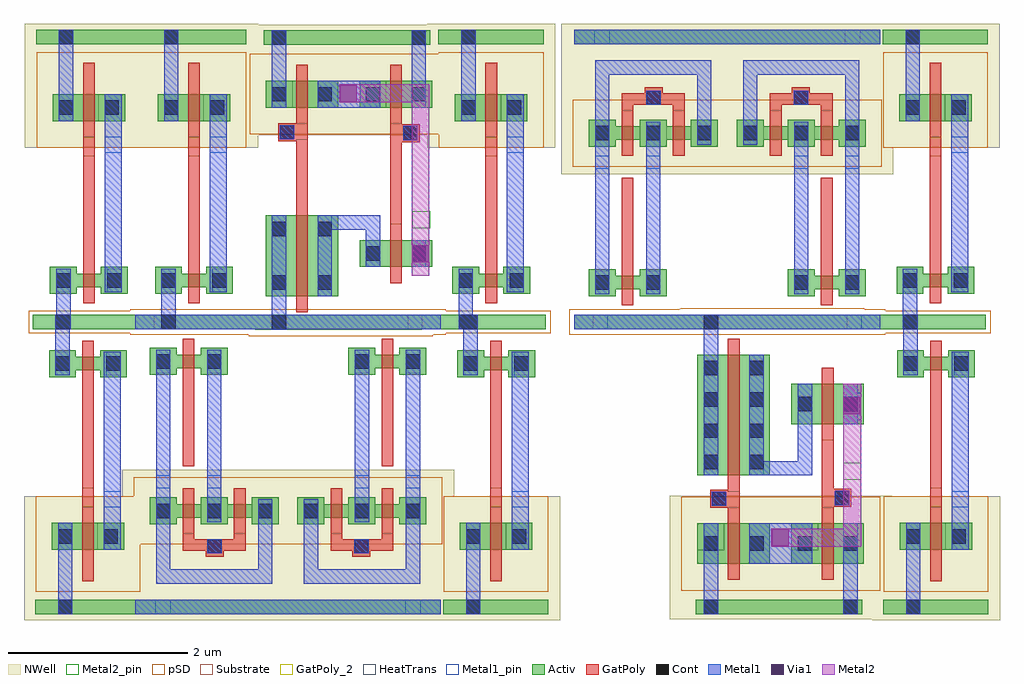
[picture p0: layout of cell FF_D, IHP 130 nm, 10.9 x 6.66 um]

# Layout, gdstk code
from math import pi, radians
import gdstk
lib = gdstk.Library(unit=1e-6, precision=5e-09)
def R(c, l, rs):  # rectangles x0, y0, x1, y1
    for r in rs: c.add(gdstk.rectangle(r[:2], r[2:], *l))
def A(c, l, x, y, w, h, nx, ny, dx, dy):  # array of equal rectangles
    R(c, l, [(x+i*dx, y+j*dy, x+i*dx+w, y+j*dy+h) for i in range(nx) for j in range(ny)])
def P(c, l, *ps):  # polygons
    for p in ps: c.add(gdstk.Polygon(p, *l))
Activ = (1, 0)
GatPoly = (5, 0)
GatPoly_2 = (5, 2)
Cont = (6, 0)
Metal1 = (8, 0)
Metal1_pin = (8, 2)
Metal2 = (10, 0)
Metal2_pin = (10, 2)
pSD = (14, 0)
Via1 = (19, 0)
NWell = (31, 0)
Substrate = (40, 0)
HeatTrans = (51, 0)

nmos = lib.new_cell('nmos')
R(nmos, Activ, [(0,0,0.3,0.3), (0.57,0,0.87,0.3), (0,0.075,0.87,0.225)])
R(nmos, GatPoly, [(0.37,-0.105,0.5,1.545)])
R(nmos, GatPoly_2, [(0.37,-0.105,0.5,1.545)])
R(nmos, Cont, [(0.07,0.07,0.23,0.23), (0.64,0.07,0.8,0.23)])
R(nmos, Metal1, [(0.07,0.02,0.23,0.28), (0.64,0.02,0.8,0.28)])
R(nmos, Metal1_pin, [(0.07,0.02,0.23,0.28), (0.64,0.02,0.8,0.28)])
R(nmos, HeatTrans, [(0.37,-0.105,0.5,1.545)])
nmos.add(gdstk.Label('nmos', (0.435,0.15), layer=63, texttype=0))
nmos.add(gdstk.Label('nmos', (0.435,0.15), layer=51, texttype=0))

pmos_1 = lib.new_cell('pmos$1')
R(pmos_1, Activ, [(0,1.14,0.3,1.44), (0,1.14,0.81,1.44), (0.51,1.14,0.81,1.44)])
R(pmos_1, GatPoly, [(0.34,0.96,0.47,1.79), (0.34,0.96,0.47,1.79)])
R(pmos_1, Cont, [(0.07,1.21,0.23,1.37), (0.58,1.21,0.74,1.37)])
R(pmos_1, Metal1, [(0.07,1.14,0.23,1.44), (0.07,1.14,0.23,1.44), (0.58,1.14,0.74,1.44)])
P(pmos_1, Metal1, [(0.58,1.14),(0.58,1.44),(0.675,1.44),(0.74,1.44),(0.74,1.14)])
R(pmos_1, pSD, [(-0.18,0.84,0.99,1.91)])
R(pmos_1, NWell, [(-0.31,0.84,1.12,1.92)])
R(pmos_1, Substrate, [(0.51,1.14,0.81,1.44)])
R(pmos_1, HeatTrans, [(0.34,0.96,0.47,1.79)])
pmos_1.add(gdstk.Label('pmos', (0.405,1.29), layer=63, texttype=0))
pmos_1.add(gdstk.Label('pmos', (0.405,1.29), layer=51, texttype=0))

inv_d1 = lib.new_cell('INV_D1')
R(inv_d1, Activ, [(-0.63,-1,0.545,-0.84), (-0.6,2.185,0.575,2.345)])
R(inv_d1, GatPoly, [(-0.075,0.94,0.055,1.145)])
R(inv_d1, GatPoly_2, [(-0.075,1.03,0.055,1.145)])
R(inv_d1, Cont, [(-0.375,-1,-0.215,-0.84), (-0.345,2.185,-0.185,2.345)])
R(inv_d1, Metal1, [(-0.375,-1,-0.215,-0.585), (0.165,-0.585,0.355,1.625), (-0.345,1.625,-0.185,2.345)])
R(inv_d1, Metal1_pin, [(-0.375,-1,-0.215,-0.84), (0.165,0.97,0.355,1.15), (-0.345,2.185,-0.185,2.345)])
R(inv_d1, pSD, [(-0.67,-1.045,0.6,-0.795)])
R(inv_d1, NWell, [(-0.725,2.105,0.705,2.41)])
inv_d1.add(gdstk.Reference(nmos, (-0.445,-0.605)))
inv_d1.add(gdstk.Reference(pmos_1, (-0.415,0.185)))
inv_d1.add(gdstk.Label('VDD', (-0.215,2.32), layer=8, texttype=2))
inv_d1.add(gdstk.Label('VOUT', (0.315,1.115), layer=8, texttype=2))
inv_d1.add(gdstk.Label('VSS', (-0.26,-0.865), layer=8, texttype=2))
inv_d1.add(gdstk.Label('VIN', (0.02,1.13), layer=5, texttype=2))

nmos_3 = lib.new_cell('nmos$3')
R(nmos_3, Activ, [(0,0,0.3,0.3), (0.57,0,0.87,0.3), (0,0.075,0.87,0.225)])
R(nmos_3, GatPoly, [(0.37,-0.105,0.5,1.32)])
R(nmos_3, GatPoly_2, [(0.37,-0.105,0.5,1.32)])
R(nmos_3, Cont, [(0.07,0.07,0.23,0.23), (0.64,0.07,0.8,0.23)])
R(nmos_3, Metal1, [(0.07,0.02,0.23,0.28), (0.64,0.02,0.8,0.28)])
R(nmos_3, Metal1_pin, [(0.07,0.02,0.23,0.28), (0.64,0.02,0.8,0.28)])
R(nmos_3, HeatTrans, [(0.37,-0.105,0.5,1.32)])
nmos_3.add(gdstk.Label('nmos', (0.435,0.15), layer=63, texttype=0))
nmos_3.add(gdstk.Label('nmos', (0.435,0.15), layer=51, texttype=0))

pmos_3 = lib.new_cell('pmos$3')
R(pmos_3, Activ, [(0,0.915,0.3,1.215), (0.57,0.915,0.87,1.215), (0,0.99,0.87,1.14)])
R(pmos_3, GatPoly, [(0.37,0.81,0.5,1.32), (0.37,0.81,0.5,1.32)])
R(pmos_3, Cont, [(0.07,0.985,0.23,1.145), (0.64,0.985,0.8,1.145)])
R(pmos_3, Metal1, [(0.07,0.935,0.23,1.195), (0.07,0.935,0.23,1.195), (0.64,0.935,0.8,1.195), (0.64,0.935,0.8,1.195)])
R(pmos_3, pSD, [(-0.18,0.69,1.05,1.44)])
R(pmos_3, NWell, [(-0.31,0.605,1.18,2.285)])
R(pmos_3, Substrate, [(0.57,0.915,0.87,1.215)])
R(pmos_3, HeatTrans, [(0.37,0.81,0.5,1.32)])
pmos_3.add(gdstk.Label('pmos', (0.435,1.065), layer=63, texttype=0))
pmos_3.add(gdstk.Label('pmos', (0.435,1.065), layer=51, texttype=0))

tg_2c = lib.new_cell('TG_2C')
R(tg_2c, Activ, [(0.15,0.06,1.91,0.22), (0.15,3.245,1.91,3.405)])
R(tg_2c, GatPoly, [(0.935,2.565,1.135,2.765)])
R(tg_2c, GatPoly_2, [(0.68,0.72,0.81,1.75)])
R(tg_2c, Cont, [(0.955,2.565,1.115,2.725)])
R(tg_2c, Metal1, [(0.15,0.06,1.91,0.22), (0.955,2.565,1.115,2.725), (0.15,3.245,1.91,3.405)])
R(tg_2c, Metal1_pin, [(0.355,0.06,0.52,0.22), (0.38,1.85,0.54,2), (0.95,1.85,1.11,2), (0.955,2.565,1.115,2.725), (0.37,3.245,0.545,3.405)])
R(tg_2c, pSD, [(0.09,0,1.985,0.28)])
R(tg_2c, NWell, [(0,1.795,2.06,2.54)])
tg_2c.add(gdstk.FlexPath([(0.745,2.505),(0.745,2.63),(1.315,2.63),(1.315,2.505)], 0.13, ends="flush", simple_path=True, layer=5, datatype=0))  # GatPoly
tg_2c.add(gdstk.FlexPath([(0.46,2.12),(0.46,0.71)], 0.16, ends="flush", simple_path=True, layer=8, datatype=0))  # Metal1
tg_2c.add(gdstk.FlexPath([(1.03,2.12),(1.03,0.71)], 0.16, ends="flush", simple_path=True, layer=8, datatype=0))  # Metal1
tg_2c.add(gdstk.FlexPath([(0.46,2.38),(0.46,2.985),(1.6,2.985),(1.6,2.38)], 0.16, ends="flush", simple_path=True, layer=8, datatype=0))  # Metal1
tg_2c.add(gdstk.Reference(nmos_3, (0.31,0.43)))
tg_2c.add(gdstk.Reference(pmos_3, (0.31,1.185)))
tg_2c.add(gdstk.Reference(pmos_3, (0.88,1.185)))
tg_2c.add(gdstk.Label('VSS', (0.455,0.17), layer=8, texttype=2))
tg_2c.add(gdstk.Label('VCTRLP', (1.095,2.715), layer=8, texttype=2))
tg_2c.add(gdstk.Label('VIN', (0.49,1.96), layer=8, texttype=2))
tg_2c.add(gdstk.Label('VOUT', (1.085,1.935), layer=8, texttype=2))
tg_2c.add(gdstk.Label('VDD', (0.48,3.365), layer=8, texttype=2))
tg_2c.add(gdstk.Label('VCTRLN', (0.75,1.7), layer=5, texttype=2))

pmos_2_1 = lib.new_cell('pmos$2$1')
R(pmos_2_1, Activ, [(0,0.67,0.81,0.97), (0,0.67,0.3,0.97), (0.51,0.67,0.81,0.97)])
R(pmos_2_1, GatPoly, [(0.34,0.49,0.47,1.15), (0.34,0.49,0.47,1.15)])
R(pmos_2_1, Cont, [(0.07,0.74,0.23,0.9), (0.58,0.74,0.74,0.9)])
R(pmos_2_1, Metal1, [(0.07,0.67,0.23,0.97), (0.07,0.67,0.23,0.97), (0.58,0.67,0.74,0.97), (0.58,0.67,0.74,0.97)])
R(pmos_2_1, pSD, [(-0.18,0.37,0.99,1.27)])
R(pmos_2_1, NWell, [(-0.31,0.36,1.12,1.28)])
R(pmos_2_1, Substrate, [(0.51,0.67,0.81,0.97)])
R(pmos_2_1, HeatTrans, [(0.34,0.49,0.47,1.15)])
pmos_2_1.add(gdstk.Label('pmos', (0.405,0.82), layer=63, texttype=0))
pmos_2_1.add(gdstk.Label('pmos', (0.405,0.82), layer=51, texttype=0))

nmos_1_2 = lib.new_cell('nmos$1$2')
R(nmos_1_2, Activ, [(0,0,0.3,0.3), (0,0,0.81,0.9), (0.51,0,0.81,0.3)])
R(nmos_1_2, GatPoly, [(0.34,-0.18,0.47,1.75)])
R(nmos_1_2, GatPoly_2, [(0.34,-0.18,0.47,1.75)])
R(nmos_1_2, Cont, [(0.07,0.07,0.23,0.23), (0.58,0.07,0.74,0.23), (0.07,0.67,0.23,0.83), (0.58,0.67,0.74,0.83)])
R(nmos_1_2, Metal1, [(0.07,0,0.23,0.9), (0.58,0,0.74,0.9)])
R(nmos_1_2, Metal1_pin, [(0.07,0,0.23,0.9), (0.58,0,0.74,0.9)])
R(nmos_1_2, HeatTrans, [(0.34,-0.18,0.47,1.75)])
nmos_1_2.add(gdstk.Label('nmos', (0.405,0.45), layer=63, texttype=0))
nmos_1_2.add(gdstk.Label('nmos', (0.405,0.45), layer=51, texttype=0))

nmos_2_1 = lib.new_cell('nmos$2$1')
R(nmos_2_1, Activ, [(0,0,0.3,0.3), (0,0,0.81,0.3), (0.51,0,0.81,0.3)])
R(nmos_2_1, GatPoly, [(0.34,-0.18,0.47,0.48)])
R(nmos_2_1, GatPoly_2, [(0.34,-0.18,0.47,0.48)])
R(nmos_2_1, Cont, [(0.07,0.07,0.23,0.23), (0.58,0.07,0.74,0.23)])
R(nmos_2_1, Metal1, [(0.07,0,0.23,0.3), (0.58,0,0.74,0.3)])
R(nmos_2_1, Metal1_pin, [(0.07,0,0.23,0.3), (0.58,0,0.74,0.3)])
R(nmos_2_1, HeatTrans, [(0.34,-0.18,0.47,0.48)])
nmos_2_1.add(gdstk.Label('nmos', (0.405,0.15), layer=63, texttype=0))
nmos_2_1.add(gdstk.Label('nmos', (0.405,0.15), layer=51, texttype=0))

nand_d2 = lib.new_cell('NAND_D2')
R(nand_d2, Activ, [(-0.055,-0.56,1.805,-0.4), (0.04,2.625,1.9,2.785)])
R(nand_d2, GatPoly, [(1.45,0.44,1.58,1.74), (0.4,0.78,0.53,1.74), (1.58,1.535,1.78,1.735), (0.2,1.545,0.4,1.745)])
R(nand_d2, Cont, [(0.13,-0.56,0.29,-0.4), (1.595,1.555,1.755,1.715), (0.22,1.565,0.38,1.725), (0.13,2.625,0.29,2.785), (1.69,2.625,1.85,2.785)])
R(nand_d2, Metal1, [(0.13,-0.56,0.29,-0.185), (1.69,0.14,1.89,0.44), (1.595,1.555,1.755,1.715), (0.22,1.565,0.38,1.725), (0.64,1.92,1.34,2.22), (0.13,2.22,0.29,2.785), (1.69,2.22,1.85,2.785)])
R(nand_d2, Metal1_pin, [(0.13,-0.56,0.29,-0.4), (1.595,1.555,1.755,1.715), (0.22,1.565,0.38,1.725), (0.13,2.625,0.29,2.785), (1.69,2.625,1.85,2.785)])
R(nand_d2, Metal2_pin, [(1.7,0.57,1.9,0.76)])
R(nand_d2, pSD, [(-0.13,-0.635,1.925,-0.335)])
R(nand_d2, Via1, [(1.69,0.19,1.88,0.38), (0.89,1.985,1.08,2.175)])
R(nand_d2, NWell, [(-0.25,2.53,2.23,2.845)])
nand_d2.add(gdstk.FlexPath([(1.26,0.43),(1.26,0.635),(0.72,0.635),(0.72,0.44)], 0.16, ends="flush", simple_path=True, layer=8, datatype=0))  # Metal1
nand_d2.add(gdstk.FlexPath([(0.885,2.08),(1.79,2.08),(1.79,0.04)], 0.2, ends="flush", simple_path=True, layer=10, datatype=0))  # Metal2
nand_d2.add(gdstk.Reference(pmos_2_1, (1.92,1.25), rotation=pi, x_reflection=True))
nand_d2.add(gdstk.Reference(pmos_2_1, (0.87,1.25), rotation=pi, x_reflection=True))
nand_d2.add(gdstk.Reference(nmos_1_2, (0.87,-0.185), rotation=pi, x_reflection=True))
nand_d2.add(gdstk.Reference(nmos_2_1, (1.92,0.14), rotation=pi, x_reflection=True))
nand_d2.add(gdstk.Label('VDD', (0.155,2.745), layer=8, texttype=2))
nand_d2.add(gdstk.Label('VDD', (1.715,2.745), layer=8, texttype=2))
nand_d2.add(gdstk.Label('VA', (1.63,1.695), layer=8, texttype=2))
nand_d2.add(gdstk.Label('VB', (0.255,1.695), layer=8, texttype=2))
nand_d2.add(gdstk.Label('VSS', (0.2,-0.435), layer=8, texttype=2))
nand_d2.add(gdstk.Label('VOUT', (1.835,0.705), layer=10, texttype=2))

half_a = lib.new_cell('HALF_A')
half_a.add(gdstk.Reference(inv_d1, (3.495,1.44), x_reflection=True))
half_a.add(gdstk.Reference(tg_2c, (3.865,2.5), x_reflection=True))
half_a.add(gdstk.Reference(nand_d2, (5.41,2.835)))
half_a.add(gdstk.Reference(tg_2c, (7.575,2.5), rotation=pi))
half_a.add(gdstk.Reference(inv_d1, (8.055,1.44), x_reflection=True))

pmos_2 = lib.new_cell('pmos$2')
R(pmos_2, Activ, [(0,0,0.3,0.3), (0,0,0.81,0.45), (0.51,0,0.81,0.3)])
R(pmos_2, GatPoly, [(0.34,-0.18,0.47,0.63), (0.34,-0.18,0.47,0.63)])
R(pmos_2, Cont, [(0.07,0.145,0.23,0.305), (0.58,0.145,0.74,0.305)])
R(pmos_2, Metal1, [(0.07,0,0.23,0.45), (0.07,0,0.23,0.45), (0.58,0,0.74,0.45), (0.58,0,0.74,0.45)])
R(pmos_2, pSD, [(-0.18,-0.3,0.99,0.75)])
R(pmos_2, NWell, [(-0.31,-0.31,1.12,0.76)])
R(pmos_2, Substrate, [(0.51,0,0.81,0.3)])
R(pmos_2, HeatTrans, [(0.34,-0.18,0.47,0.63)])
pmos_2.add(gdstk.Label('pmos', (0.405,0.225), layer=63, texttype=0))
pmos_2.add(gdstk.Label('pmos', (0.405,0.225), layer=51, texttype=0))

nmos_1_1 = lib.new_cell('nmos$1$1')
R(nmos_1_1, Activ, [(0,0,0.3,0.3), (0,0,0.81,1.35), (0.51,0,0.81,0.3)])
R(nmos_1_1, GatPoly, [(0.34,-0.18,0.47,1.53)])
R(nmos_1_1, GatPoly_2, [(0.34,-0.18,0.47,1.53)])
A(nmos_1_1, Cont, 0.07, 0.07, 0.16, 0.16, 1, 4, 0, 0.35)
A(nmos_1_1, Cont, 0.58, 0.07, 0.16, 0.16, 1, 4, 0, 0.35)
R(nmos_1_1, Metal1, [(0.07,0,0.23,1.35), (0.58,0,0.74,1.35)])
R(nmos_1_1, Metal1_pin, [(0.07,0,0.23,1.35), (0.58,0,0.74,1.35)])
R(nmos_1_1, HeatTrans, [(0.34,-0.18,0.47,1.53)])
nmos_1_1.add(gdstk.Label('nmos', (0.405,0.675), layer=63, texttype=0))
nmos_1_1.add(gdstk.Label('nmos', (0.405,0.675), layer=51, texttype=0))

nmos_2 = lib.new_cell('nmos$2')
R(nmos_2, Activ, [(0,0,0.3,0.3), (0,0,0.81,0.45), (0.51,0,0.81,0.3)])
R(nmos_2, GatPoly, [(0.34,-0.18,0.47,0.63)])
R(nmos_2, GatPoly_2, [(0.34,-0.18,0.47,0.63)])
R(nmos_2, Cont, [(0.07,0.145,0.23,0.305), (0.58,0.145,0.74,0.305)])
R(nmos_2, Metal1, [(0.07,0,0.23,0.45), (0.58,0,0.74,0.45)])
R(nmos_2, Metal1_pin, [(0.07,0,0.23,0.45), (0.58,0,0.74,0.45)])
R(nmos_2, HeatTrans, [(0.34,-0.18,0.47,0.63)])
nmos_2.add(gdstk.Label('nmos', (0.405,0.225), layer=63, texttype=0))
nmos_2.add(gdstk.Label('nmos', (0.405,0.225), layer=51, texttype=0))

nand_d3 = lib.new_cell('NAND_D3')
R(nand_d3, Activ, [(-0.055,-1.08,1.805,-0.92), (0.04,2.105,1.9,2.265)])
R(nand_d3, GatPoly, [(1.45,0.31,1.58,1.07), (0.4,0.78,0.53,1.07), (1.58,0.865,1.78,1.065), (0.2,0.875,0.4,1.075)])
R(nand_d3, Cont, [(0.13,-1.08,0.29,-0.92), (1.595,0.885,1.755,1.045), (0.22,0.895,0.38,1.055), (0.13,2.105,0.29,2.265), (1.69,2.105,1.85,2.265)])
R(nand_d3, Metal1, [(0.13,-1.08,0.29,-0.545), (1.69,-0.21,1.89,0.09), (1.595,0.885,1.755,1.045), (0.22,0.895,0.38,1.055), (0.64,1.25,1.34,1.7), (0.13,1.55,0.29,2.265), (1.69,1.55,1.85,2.265)])
R(nand_d3, Metal1_pin, [(0.13,-1.08,0.29,-0.92), (1.595,0.885,1.755,1.045), (0.22,0.895,0.38,1.055), (0.13,2.105,0.29,2.265), (1.69,2.105,1.85,2.265)])
R(nand_d3, Metal2_pin, [(1.69,0.57,1.89,0.76)])
R(nand_d3, pSD, [(-0.13,-1.155,1.925,-0.855)])
R(nand_d3, Via1, [(1.69,-0.16,1.88,0.03), (0.89,1.315,1.08,1.505)])
R(nand_d3, NWell, [(-0.25,2.01,2.23,2.32)])
nand_d3.add(gdstk.FlexPath([(1.26,0.13),(1.26,0.635),(0.72,0.635),(0.72,0.44)], 0.16, ends="flush", simple_path=True, layer=8, datatype=0))  # Metal1
nand_d3.add(gdstk.FlexPath([(0.885,1.41),(1.79,1.41),(1.79,-0.31)], 0.2, ends="flush", simple_path=True, layer=10, datatype=0))  # Metal2
nand_d3.add(gdstk.Reference(pmos_2, (1.92,1.25), rotation=pi, x_reflection=True))
nand_d3.add(gdstk.Reference(pmos_2, (0.87,1.25), rotation=pi, x_reflection=True))
nand_d3.add(gdstk.Reference(nmos_1_1, (0.87,-0.635), rotation=pi, x_reflection=True))
nand_d3.add(gdstk.Reference(nmos_2, (1.92,-0.31), rotation=pi, x_reflection=True))
nand_d3.add(gdstk.Label('VB', (0.255,1.025), layer=8, texttype=2))
nand_d3.add(gdstk.Label('VA', (1.63,1.025), layer=8, texttype=2))
nand_d3.add(gdstk.Label('VDD', (1.715,2.225), layer=8, texttype=2))
nand_d3.add(gdstk.Label('VDD', (0.155,2.225), layer=8, texttype=2))
nand_d3.add(gdstk.Label('VSS', (0.2,-0.955), layer=8, texttype=2))
nand_d3.add(gdstk.Label('VOUT', (1.835,0.705), layer=10, texttype=2))

half_b = lib.new_cell('HALF_B')
half_b.add(gdstk.Reference(tg_2c, (3.035,2.225), x_reflection=True))
half_b.add(gdstk.Reference(tg_2c, (6.75,2.225), rotation=pi))
half_b.add(gdstk.Reference(nand_d3, (4.5,3.085)))
half_b.add(gdstk.Reference(inv_d1, (2.265,1.165), x_reflection=True))
half_b.add(gdstk.Reference(inv_d1, (7.23,1.165), x_reflection=True))

ff_d = lib.new_cell('FF_D')
ff_d.add(gdstk.Reference(half_a, (0.67,3.86)))
ff_d.add(gdstk.Reference(inv_d1, (4.175,7.14)))
ff_d.add(gdstk.Reference(inv_d1, (5.35,7.14)))
ff_d.add(gdstk.Reference(inv_d1, (13.64,5.3), x_reflection=True))
ff_d.add(gdstk.Reference(half_b, (6.405,8.305), x_reflection=True))

lib.write_gds('FF_D.gds')
